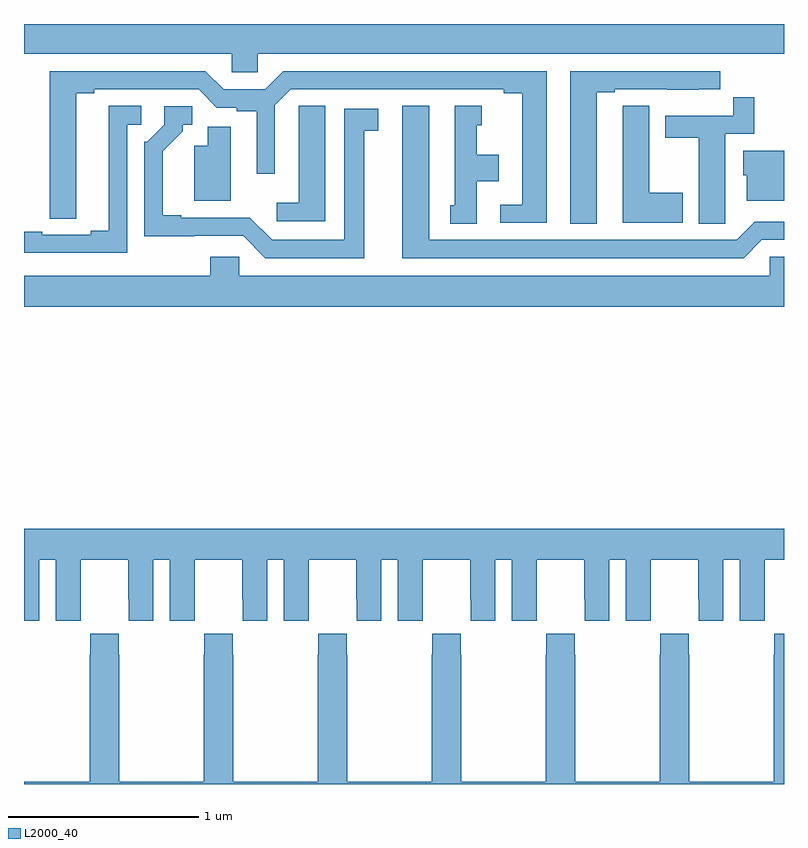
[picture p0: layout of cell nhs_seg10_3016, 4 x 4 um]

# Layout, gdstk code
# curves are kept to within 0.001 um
import gdstk
lib = gdstk.Library(unit=1e-6, precision=1e-09)
def P(c, l, *ps):  # polygons
    for p in ps: c.add(gdstk.Polygon(p, *l))
L2000_40 = (2000, 40)

nhs_seg10_3016 = lib.new_cell('nhs_seg10_3016')
P(nhs_seg10_3016, L2000_40, [(276.231,1272.344),(279,1272.344),(279,1272.5),(275,1272.5),(275,1272.344),(276.093,1272.344),(276.093,1272.246),(276.231,1272.246)],
  [(278.014,1272.141),(278.11,1272.141),(278.11,1272.156),(278.386,1272.156),(278.386,1272.155),(278.552,1272.155),(278.552,1272.156),(278.665,1272.156),(278.665,1272.252),(277.874,1272.252),(277.874,1271.449),(278.014,1271.449)],
  [(277.75,1272.252),(276.365,1272.252),(276.269,1272.156),(276.051,1272.156),(275.955,1272.252),(275.135,1272.252),(275.136,1271.476),(275.275,1271.476),(275.275,1272.136),(275.371,1272.136),(275.371,1272.156),(275.919,1272.156),(276.015,1272.06),(276.12,1272.06),(276.12,1272.04),(276.224,1272.04),(276.224,1271.712),(276.321,1271.712),(276.321,1272.072),(276.405,1272.156),(277.526,1272.156),(277.526,1272.136),(277.622,1272.136),(277.622,1271.55),(277.506,1271.55),(277.506,1271.454),(277.75,1271.454)],
  [(278.691,1271.56),(278.692,1271.56),(278.692,1271.922),(278.843,1271.922),(278.843,1272.115),(278.734,1272.115),(278.734,1272.018),(278.375,1272.018),(278.375,1271.902),(278.552,1271.902),(278.552,1271.449),(278.691,1271.449)],
  [(278.467,1271.613),(278.29,1271.613),(278.29,1272.071),(278.151,1272.071),(278.151,1271.963),(278.15,1271.963),(278.15,1271.453),(278.467,1271.453)],
  [(275.544,1271.97),(275.617,1271.97),(275.617,1272.071),(275.447,1272.071),(275.447,1271.411),(275.351,1271.411),(275.351,1271.391),(275.095,1271.391),(275.095,1271.406),(275,1271.406),(275,1271.295),(275.544,1271.295)],
  [(276.586,1272.071),(276.447,1272.071),(276.447,1271.963),(276.446,1271.963),(276.446,1271.56),(276.33,1271.56),(276.33,1271.463),(276.586,1271.463)],
  [(278.883,1271.364),(279,1271.364),(279,1271.46),(278.847,1271.46),(278.751,1271.364),(277.132,1271.364),(277.132,1272.07),(276.992,1272.07),(276.992,1271.268),(278.787,1271.268)],
  [(277.384,1271.672),(277.498,1271.672),(277.498,1271.812),(277.384,1271.812),(277.384,1271.967),(277.408,1271.967),(277.408,1272.07),(277.268,1272.07),(277.268,1271.547),(277.244,1271.547),(277.244,1271.449),(277.384,1271.449)],
  [(276.79,1271.938),(276.865,1271.938),(276.865,1272.054),(276.686,1272.054),(276.686,1271.364),(276.306,1271.364),(276.189,1271.481),(275.827,1271.481),(275.827,1271.494),(275.731,1271.494),(275.731,1271.83),(275.836,1271.935),(275.836,1271.97),(275.886,1271.97),(275.886,1272.066),(275.739,1272.066),(275.739,1271.97),(275.649,1271.88),(275.634,1271.88),(275.634,1271.384),(276.153,1271.385),(276.27,1271.268),(276.79,1271.268)],
  [(276.088,1271.958),(275.966,1271.958),(275.966,1271.86),(275.897,1271.86),(275.897,1271.57),(276.088,1271.57)],
  [(279,1271.833),(278.786,1271.833),(278.786,1271.703),(278.804,1271.703),(278.804,1271.57),(279,1271.57)],
  [(279,1271.274),(278.925,1271.274),(278.925,1271.176),(276.132,1271.176),(276.132,1271.274),(275.981,1271.274),(275.981,1271.176),(275,1271.176),(275,1271.012),(279,1271.012)],
  [(275.08,1269.68),(275.168,1269.68),(275.168,1269.36),(275.298,1269.36),(275.298,1269.472),(275.299,1269.472),(275.299,1269.68),(275.549,1269.68),(275.549,1269.472),(275.55,1269.472),(275.55,1269.36),(275.68,1269.36),(275.68,1269.68),(275.768,1269.68),(275.768,1269.36),(275.898,1269.36),(275.898,1269.472),(275.899,1269.472),(275.899,1269.68),(276.149,1269.68),(276.149,1269.472),(276.15,1269.472),(276.15,1269.36),(276.28,1269.36),(276.28,1269.68),(276.368,1269.68),(276.368,1269.36),(276.498,1269.36),(276.498,1269.472),(276.499,1269.472),(276.499,1269.68),(276.749,1269.68),(276.749,1269.472),(276.75,1269.472),(276.75,1269.36),(276.88,1269.36),(276.88,1269.68),(276.968,1269.68),(276.968,1269.36),(277.098,1269.36),(277.098,1269.472),(277.099,1269.472),(277.099,1269.68),(277.349,1269.68),(277.349,1269.472),(277.35,1269.472),(277.35,1269.36),(277.48,1269.36),(277.48,1269.68),(277.568,1269.68),(277.568,1269.36),(277.698,1269.36),(277.698,1269.472),(277.699,1269.472),(277.699,1269.68),(277.949,1269.68),(277.949,1269.472),(277.95,1269.472),(277.95,1269.36),(278.08,1269.36),(278.08,1269.68),(278.168,1269.68),(278.168,1269.36),(278.298,1269.36),(278.298,1269.472),(278.299,1269.472),(278.299,1269.68),(278.549,1269.68),(278.549,1269.472),(278.55,1269.472),(278.55,1269.36),(278.68,1269.36),(278.68,1269.68),(278.768,1269.68),(278.768,1269.36),(278.898,1269.36),(278.898,1269.472),(278.899,1269.472),(278.899,1269.68),(279,1269.68),(279,1269.844),(275,1269.844),(275,1269.36),(275.08,1269.36)],
  [(275.349,1269.292),(275.349,1269.179),(275.347,1269.179),(275.347,1268.512),(275,1268.512),(275,1268.5),(279,1268.5),(279,1269.292),(278.949,1269.292),(278.949,1269.179),(278.947,1269.179),(278.947,1268.512),(278.502,1268.512),(278.502,1269.179),(278.499,1269.179),(278.499,1269.292),(278.349,1269.292),(278.349,1269.179),(278.347,1269.179),(278.347,1268.512),(277.902,1268.512),(277.902,1269.179),(277.899,1269.179),(277.899,1269.292),(277.749,1269.292),(277.749,1269.179),(277.747,1269.179),(277.747,1268.512),(277.302,1268.512),(277.302,1269.179),(277.299,1269.179),(277.299,1269.292),(277.149,1269.292),(277.149,1269.179),(277.147,1269.179),(277.147,1268.512),(276.702,1268.512),(276.702,1269.179),(276.699,1269.179),(276.699,1269.292),(276.549,1269.292),(276.549,1269.179),(276.547,1269.179),(276.547,1268.512),(276.102,1268.512),(276.102,1269.179),(276.099,1269.179),(276.099,1269.292),(275.949,1269.292),(275.949,1269.179),(275.947,1269.179),(275.947,1268.512),(275.502,1268.512),(275.502,1269.179),(275.499,1269.179),(275.499,1269.292)])

lib.write_gds('nhs_seg10_3016.gds')
